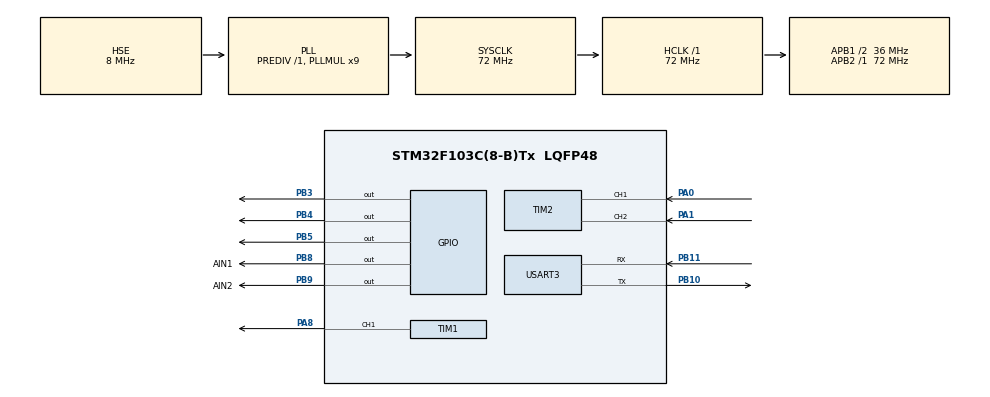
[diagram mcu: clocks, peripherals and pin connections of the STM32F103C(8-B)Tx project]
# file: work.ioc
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Mcu.Family=STM32F1
Mcu.Name=STM32F103C(8-B)Tx
Mcu.Package=LQFP48
NVIC.PriorityGroup=NVIC_PRIORITYGROUP_4
NVIC.TIM1_UP_IRQn=true\:0\:0\:false\:false\:true\:true\:true\:true
NVIC.USART3_IRQn=true\:0\:0\:false\:false\:true\:true\:true\:true
PA0-WKUP.Signal=S_TIM2_CH1_ETR
PA1.Signal=S_TIM2_CH2
PA13.Mode=Serial_Wire
PA13.Signal=SYS_JTMS-SWDIO
PA14.Mode=Serial_Wire
PA14.Signal=SYS_JTCK-SWCLK
PA8.Signal=S_TIM1_CH1
PB10.Mode=Asynchronous
PB10.Signal=USART3_TX
PB11.Mode=Asynchronous
PB11.Signal=USART3_RX
PB3.Signal=GPIO_Output
PB4.Signal=GPIO_Output
PB5.Signal=GPIO_Output
PB8.GPIO_Label=AIN1
PB8.Signal=GPIO_Output
PB9.GPIO_Label=AIN2
PB9.Signal=GPIO_Output
PD0-OSC_IN.Mode=HSE-External-Oscillator
PD0-OSC_IN.Signal=RCC_OSC_IN
PD1-OSC_OUT.Mode=HSE-External-Oscillator
PD1-OSC_OUT.Signal=RCC_OSC_OUT
ProjectManager.HeapSize=0x200
ProjectManager.StackSize=0x400
ProjectManager.TargetToolchain=Makefile
RCC.AHBFreq_Value=72000000
RCC.APB1CLKDivider=RCC_HCLK_DIV2
RCC.APB1Freq_Value=36000000
RCC.APB1TimFreq_Value=72000000
RCC.APB2Freq_Value=72000000
RCC.APB2TimFreq_Value=72000000
RCC.HCLKFreq_Value=72000000
RCC.PLLMUL=RCC_PLL_MUL9
RCC.PLLSourceVirtual=RCC_PLLSOURCE_HSE
RCC.SYSCLKFreq_VALUE=72000000
RCC.SYSCLKSource=RCC_SYSCLKSOURCE_PLLCLK
RCC.USBFreq_Value=72000000
SH.S_TIM1_CH1.0=TIM1_CH1,PWM Generation1 CH1
SH.S_TIM2_CH1_ETR.0=TIM2_CH1,Encoder_Interface
SH.S_TIM2_CH2.0=TIM2_CH2,Encoder_Interface
TIM1.Channel-PWM\ Generation1\ CH1=TIM_CHANNEL_1
TIM1.Period=1000-1
TIM1.Prescaler=720-1
TIM2.EncoderMode=TIM_ENCODERMODE_TI12
TIM3.Prescaler=72-1
USART3.VirtualMode=VM_ASYNC
VP_TIM1_VS_ClockSourceINT.Mode=Internal
VP_TIM3_VS_ClockSourceINT.Mode=Internal
board=custom

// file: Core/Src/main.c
/* USER CODE BEGIN Header */
/**
  ******************************************************************************
  * @file           : main.c
  * @brief          : Main program body
  ******************************************************************************
  * @attention
  *
  * Copyright (c) 2025 STMicroelectronics.
  * All rights reserved.
  *
  * This software is licensed under terms that can be found in the LICENSE file
  * in the root directory of this software component.
  * If no LICENSE file comes with this software, it is provided AS-IS.
  *
  ******************************************************************************
  */
/* USER CODE END Header */
#include "main.h"
#include "tim.h"
#include "usart.h"
#include "gpio.h"

/* USER CODE BEGIN Includes */
#include"motor.h"
#include"stdio.h"//11
#include"stdlib.h"
#include"stepper.h"
// test2
/* USER CODE END Includes */

/* USER CODE BEGIN PTD */
uint8_t time_flag = 0;  //定时器中断的判断标志
uint8_t current_mode = 1;  //小车电机的运动状态
/* USER CODE END PTD */

void SystemClock_Config(void);

int main(void)
{

  /* MCU Configuration--------------------------------------------------------*/

  /* Reset of all peripherals, Initializes the Flash interface and the Systick. */
  HAL_Init();

  /* Configure the system clock */
  SystemClock_Config();

  /* Initialize all configured peripherals */
  MX_GPIO_Init();
  MX_TIM1_Init();
  MX_TIM2_Init();
  MX_TIM3_Init();
  MX_USART3_UART_Init();
  /* USER CODE BEGIN 2 */
  stepper_init();
  PID pid;
  PID_Init(0.5,0.5,1.0,&pid); // 初始化pid
  HAL_TIM_Base_Start_IT(&htim1);
  HAL_TIM_Base_Start(&htim2);
  HAL_TIM_PWM_Start(&htim1, TIM_CHANNEL_1);  //启动PWM
  HAL_TIM_Encoder_Start(&htim2, TIM_CHANNEL_1);
  HAL_TIM_Encoder_Start(&htim2, TIM_CHANNEL_2);//启动编码器
  // HAL_Delay(2000);
  stepper_step(100,1,300);
  __HAL_TIM_SET_COUNTER(&htim2,30000); //设置编码器计数值,防止开始时反向移动轮子出现问题
  while(current_mode==1){ //移动到砝码后
      motor_position_set(2*11*26*2*2-100, &pid,2);
  }
    __HAL_TIM_SET_COUNTER(&htim2,30000);
      stepper_step(280,0,500);
    while(current_mode==2)//到达能够勾起砝码的位置
    {
      motor_position_set(-200, &pid,3);
    }
      __HAL_TIM_SET_COUNTER(&htim2,30000);
      stepper_step(800,1,300);//上钩
      while(current_mode==3)
      {
        motor_position_set2(-2*11*26*2*2-150,&pid,4);//到达砝码放下的位置
      }
      __HAL_TIM_SET_COUNTER(&htim2,30000);
      stepper_step(250,0,4000);
      while(current_mode==4){
        motor_position_set(2*11*25*2*2, &pid,0);//回到起始线左边
      }
  /* USER CODE END 2 */

  /* Infinite loop */
  while (1)
  {

}
}
void SystemClock_Config(void)
{
  RCC_OscInitTypeDef RCC_OscInitStruct = {0};
  RCC_ClkInitTypeDef RCC_ClkInitStruct = {0};

  /** Initializes the RCC Oscillators according to the specified parameters
  * in the RCC_OscInitTypeDef structure.
  */
  RCC_OscInitStruct.OscillatorType = RCC_OSCILLATORTYPE_HSE;
  RCC_OscInitStruct.HSEState = RCC_HSE_ON;
  RCC_OscInitStruct.HSEPredivValue = RCC_HSE_PREDIV_DIV1;
  RCC_OscInitStruct.HSIState = RCC_HSI_ON;
  RCC_OscInitStruct.PLL.PLLState = RCC_PLL_ON;
  RCC_OscInitStruct.PLL.PLLSource = RCC_PLLSOURCE_HSE;
  RCC_OscInitStruct.PLL.PLLMUL = RCC_PLL_MUL9;
  if (HAL_RCC_OscConfig(&RCC_OscInitStruct) != HAL_OK)
  {
    Error_Handler();
  }

  /** Initializes the CPU, AHB and APB buses clocks
  */
  RCC_ClkInitStruct.ClockType = RCC_CLOCKTYPE_HCLK|RCC_CLOCKTYPE_SYSCLK
                              |RCC_CLOCKTYPE_PCLK1|RCC_CLOCKTYPE_PCLK2;
  RCC_ClkInitStruct.SYSCLKSource = RCC_SYSCLKSOURCE_PLLCLK;
  RCC_ClkInitStruct.AHBCLKDivider = RCC_SYSCLK_DIV1;
  RCC_ClkInitStruct.APB1CLKDivider = RCC_HCLK_DIV2;
  RCC_ClkInitStruct.APB2CLKDivider = RCC_HCLK_DIV1;

  if (HAL_RCC_ClockConfig(&RCC_ClkInitStruct, FLASH_LATENCY_2) != HAL_OK)
  {
    Error_Handler();
  }
}

/* USER CODE BEGIN 4 */

void HAL_TIM_PeriodElapsedCallback(TIM_HandleTypeDef *htim)
{
    if(htim->Instance==TIM1      ) //10ms中断
    {
        time_flag=1; //设置标志位
    }
}
void motor_position_set(int32_t position,PID *pid,uint8_t next_mode)//正转
{
    int32_t cnt;
    pid->target = position+30000; //设置目标值
    if(time_flag){
        cnt=__HAL_TIM_GET_COUNTER(&htim2); //读取编码器计数值
        pid->current = cnt; //更新当前值...
        if(labs(pid->current-pid->target)>15){  //当实际值与目标值偏差大于一定值时，才进行PID计算和电机控制
          PID_Calculate(pid); //计算PID
          Motor_SetSpeed((pid->output+100)/2); //设置电机速度
          printf("%.3f,%.3f,%.3f\r\n",pid->target,pid->current,pid->output);
          time_flag=0; //清除标志位
        }
        else{//到达目标位置附近，停止电机
          pid->output=0;
          Motor_SetSpeed(0);//停止电机
          time_flag=0; //清除标志位
         current_mode=next_mode;
          // HAL_Delay(2000);
        }
    }
}
void motor_position_set2(int32_t position,PID *pid,uint8_t next_mode)//正转
{
    int32_t cnt;
    pid->target = position+30000; //设置目标值
    if(time_flag){
        cnt=__HAL_TIM_GET_COUNTER(&htim2); //读取编码器计数值
        pid->current = cnt; //更新当前值...
        if(labs(pid->current-pid->target)>15){  //当实际值与目标值偏差大于一定值时，才进行PID计算和电机控制
          PID_Calculate(pid); //计算PID
          Motor_SetSpeed(pid->output/1.2); //设置电机速度
          printf("%.3f,%.3f,%.3f\r\n",pid->target,pid->current,pid->output);
          time_flag=0; //清除标志位
        }
        else{//到达目标位置附近，停止电机
          pid->output=0;
          Motor_SetSpeed(0);//停止电机
          time_flag=0; //清除标志位
         current_mode=next_mode;
          // HAL_Delay(2000);
        }
    }
}
/* USER CODE END 4 */

void Error_Handler(void)
{
  __disable_irq();
  while (1)
  {
  }
}
